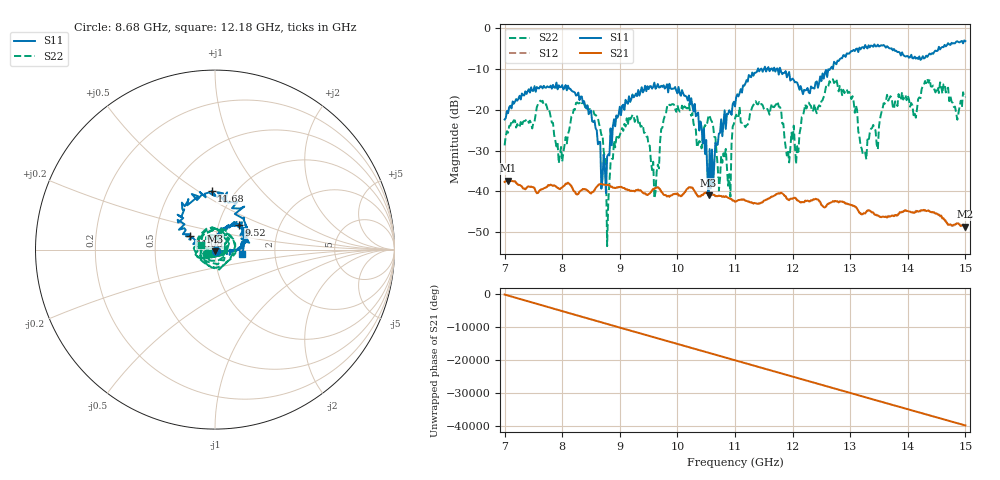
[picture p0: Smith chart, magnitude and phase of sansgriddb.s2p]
!Keysight Technologies,N5242B,MY47200105,A.14.00.23
!Date: Friday, April 26, 2024 10:55:26
!Correction: S11(C  2-Port  )
!S21(C  2-Port  )
!S12(C  2-Port  )
!S22(C  2-Port  )
!S2P File: Measurement: :
# Hz S  dB  R 50
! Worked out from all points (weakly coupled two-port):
!   401 points, 7 GHz to 15 GHz, reference 50 ohm
!   highest |S21| = -37.34 dB at 7.06 GHz (marker M1); lowest = -48.6 dB at 15 GHz (marker M2)
!   lowest |S11| = -41.0 dB at 10.54 GHz (marker M3), VSWR 1.02, Z = 50 - j0.892 ohm
!   |S11| at or under -10 dB: start of sweep to 11.4 GHz; 11.40314 GHz to 11.45334 GHz (50.2 MHz wide, 0.439 % of centre); 11.79 GHz to 12.65 GHz (867.6 MHz wide, 7.1 % of centre) (the widest 3 of 10)
!   |S22| runs from -53.4 to -12.5 dB; largest |S21 - S12| = 0.00024
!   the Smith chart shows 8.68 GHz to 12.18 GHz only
!   S11 on the Smith chart (normalised r, x): 8.68 GHz: 1.02, -0.01; 9.52 GHz: 1.25, +0.36; 11.08 GHz: 0.75, +0.11; 11.68 GHz: 0.78, +0.57; 12.18 GHz: 1.36, -0.06
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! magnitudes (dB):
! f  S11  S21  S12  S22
! 7 GHz  -22.4  -37.7  -37.7  -28.7
! 7.06 GHz  -20.9  -37.3  -37.4  -25.6
! 7.66 GHz  -14.8  -39.5  -39.4  -17.8
! 7.98 GHz  -14.4  -39.2  -39.2  -29.1
! 8.34 GHz  -16.8  -39.7  -39.7  -18.4
! 8.68 GHz  -39.3  -38.2  -38.2  -26.2
! 8.8 GHz  -31.0  -38.4  -38.4  -42.5
! 9.2 GHz  -17.4  -39.8  -39.8  -22.0
! 9.52 GHz  -14.3  -40.5  -40.5  -28.8
! 9.68 GHz  -14.6  -39.2  -39.2  -34.4
! 10.54 GHz  -41.0  -40.5  -40.5  -21.3
! 10.88 GHz  -21.1  -41.6  -41.6  -38.6
! 11 GHz  -19.2  -42.5  -42.6  -22.2
! 11.08 GHz  -16.0  -42.1  -42.1  -19.3
! 11.68 GHz  -9.7  -41.1  -41.1  -19.4
! 11.92 GHz  -11.4  -42.0  -41.9  -29.9
! 12.18 GHz  -16.2  -42.6  -42.6  -21.5
! 12.34 GHz  -14.6  -42.2  -42.2  -20.4
! 12.96 GHz  -6.2  -43.1  -43.1  -15.9
! 13.24 GHz  -5.0  -45.3  -45.2  -30.9
! 13.68 GHz  -5.0  -46.2  -46.0  -17.2
! 15 GHz  -3.2  -48.6  -48.6  -16.9
